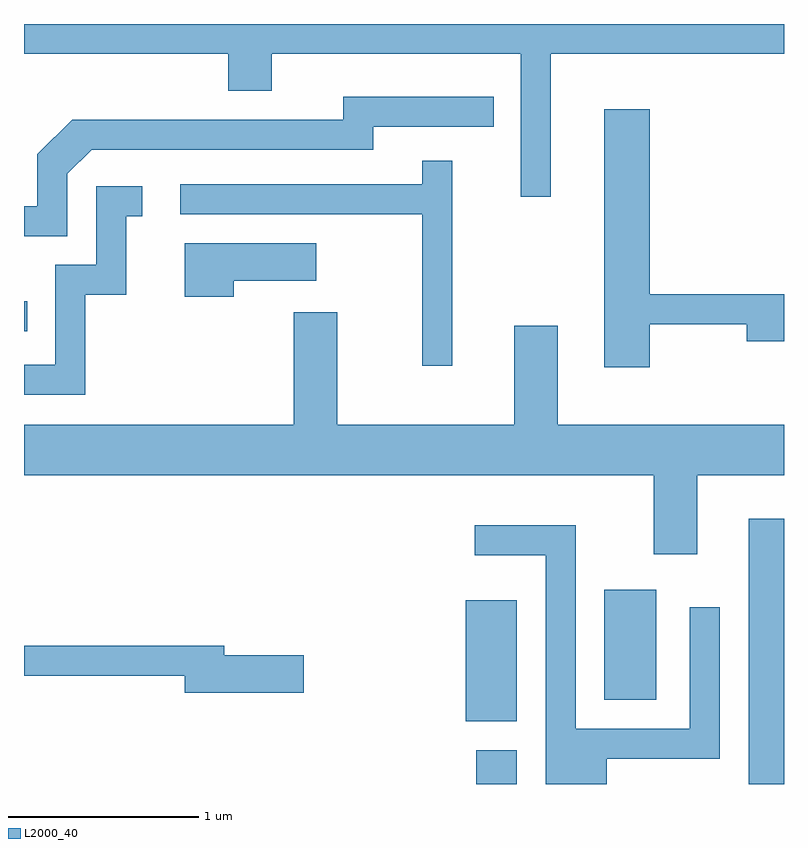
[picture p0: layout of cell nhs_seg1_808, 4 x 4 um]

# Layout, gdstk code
import gdstk
lib = gdstk.Library(unit=1e-6, precision=1e-09)
def R(c, l, rs):  # rectangles x0, y0, x1, y1
    for r in rs: c.add(gdstk.rectangle(r[:2], r[2:], *l))
def P(c, l, *ps):  # polygons
    for p in ps: c.add(gdstk.Polygon(p, *l))
L2000_40 = (2000, 40)

nhs_seg1_808 = lib.new_cell('nhs_seg1_808')
R(nhs_seg1_808, L2000_40, [(211.991,915.712,212.204,915.889), (213.426,915.712,213.611,917.109), (211.936,916.041,212.204,916.679), (212.666,916.156,212.939,916.734), (209.611,918.096,209.628,918.254)])
P(nhs_seg1_808, L2000_40, [(212.384,919.556),(213.611,919.556),(213.611,919.712),(209.611,919.712),(209.611,919.556),(210.686,919.556),(210.686,919.361),(210.914,919.361),(210.914,919.556),(212.226,919.556),(212.226,918.803),(212.384,918.803)],
  [(209.839,918.924),(209.967,919.051),(211.449,919.051),(211.449,919.171),(212.083,919.171),(212.083,919.329),(211.291,919.329),(211.291,919.209),(209.864,919.209),(209.681,919.027),(209.681,918.754),(209.611,918.754),(209.611,918.596),(209.839,918.596)],
  [(212.904,918.131),(213.416,918.131),(213.416,918.041),(213.611,918.041),(213.611,918.289),(212.904,918.289),(212.904,919.264),(212.666,919.264),(212.666,917.906),(212.904,917.906)],
  [(211.864,918.993),(211.706,918.993),(211.706,918.869),(210.433,918.869),(210.433,918.711),(211.706,918.711),(211.706,917.913),(211.864,917.913)],
  [(209.934,918.286),(210.149,918.286),(210.149,918.701),(210.233,918.701),(210.233,918.859),(209.991,918.859),(209.991,918.444),(209.776,918.444),(209.776,917.919),(209.611,917.919),(209.611,917.761),(209.934,917.761)],
  [(210.714,918.361),(211.149,918.361),(211.149,918.559),(210.456,918.559),(210.456,918.276),(210.714,918.276)],
  [(213.154,917.336),(213.611,917.336),(213.611,917.604),(212.419,917.604),(212.419,918.124),(212.191,918.124),(212.191,917.604),(211.259,917.604),(211.259,918.194),(211.031,918.194),(211.031,917.604),(209.611,917.604),(209.611,917.336),(212.926,917.336),(212.926,916.921),(213.154,916.921)],
  [(212.679,915.846),(213.274,915.846),(213.274,916.643),(213.116,916.643),(213.116,916.004),(212.514,916.004),(212.514,917.074),(211.983,917.074),(211.983,916.916),(212.356,916.916),(212.356,915.712),(212.679,915.712)],
  [(211.084,916.389),(210.664,916.389),(210.664,916.439),(209.611,916.439),(209.611,916.281),(210.456,916.281),(210.456,916.191),(211.084,916.191)])

lib.write_gds('nhs_seg1_808.gds')
